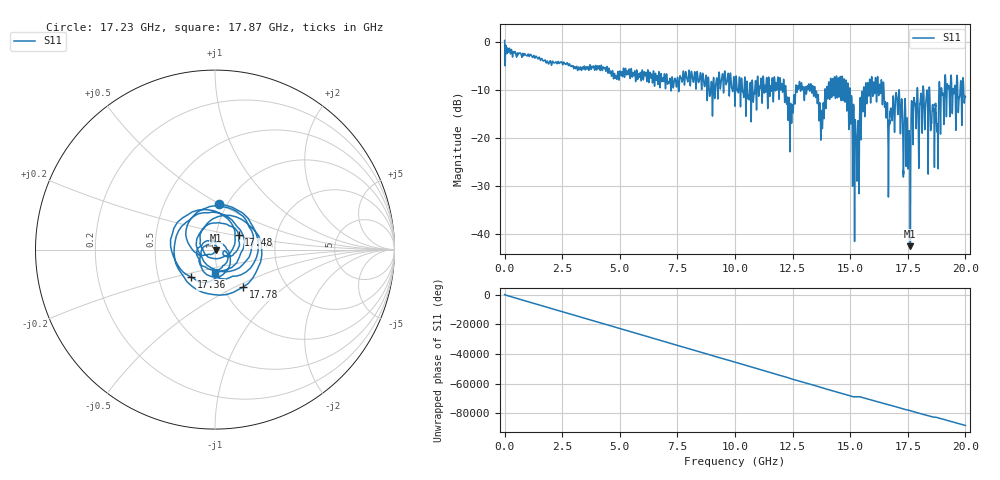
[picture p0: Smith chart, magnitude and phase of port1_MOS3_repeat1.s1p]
! MS46122B
! 2250307/22442219
! 7/27/2025 9:24:35 AM
! C:\USERS\SPARKY\DOCUMENTS\VNA_DATA\JULY27_2025\3K\PORT1_MOS3_REPEAT1.S1P
! CHANNEL.1
! TR.MEASUREMENT
! RAW.DATA
# GHZ S RI R 50.0
! FREQ.GHZ  S11RE  S11IM
!; PortSelection: Port_1
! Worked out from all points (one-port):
!   10001 points, 1 MHz to 20 GHz, reference 50 ohm
!   lowest |S11| = -42.6 dB at 17.61 GHz (marker M1), VSWR 1.01, Z = 50.7 - j0.35 ohm
!   |S11| at or under -10 dB: 14.99 GHz to 15.58 GHz (585.2 MHz wide, 3.83 % of centre); 16.47 GHz to 17.12 GHz (651.1 MHz wide, 3.88 % of centre); 17.13 GHz to 17.9 GHz (778.4 MHz wide, 4.44 % of centre) (the widest 3 of 81)
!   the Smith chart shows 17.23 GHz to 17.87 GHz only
!   S11 on the Smith chart (normalised r, x): 17.23 GHz: 0.92, +0.50; 17.36 GHz: 0.73, -0.23; 17.48 GHz: 1.28, +0.21; 17.78 GHz: 1.24, -0.55; 17.87 GHz: 0.97, -0.25
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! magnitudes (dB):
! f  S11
! 1 MHz  0.4
! 2.501 GHz  -4.3
! 5.001 GHz  -6.1
! 7.501 GHz  -7.3
! 10 GHz  -13.2
! 12.03 GHz  -8.7
! 12.5 GHz  -13.4
! 13.29 GHz  -8.7
! 13.78 GHz  -17.2
! 14.07 GHz  -8.3
! 14.49 GHz  -7.4
! 15 GHz  -11.0
! 15.29 GHz  -26.0
! 15.51 GHz  -10.3
! 15.85 GHz  -7.9
! 16.37 GHz  -8.7
! 16.73 GHz  -14.7
! 17.05 GHz  -14.1
! 17.23 GHz  -11.9
! 17.36 GHz  -13.9
! 17.48 GHz  -16.3
! 17.5 GHz  -21.2
! 17.61 GHz  -42.6
! 17.78 GHz  -11.7
! 17.87 GHz  -17.8
! 18.73 GHz  -15.6
! 19.19 GHz  -11.7
! 20 GHz  -11.4
